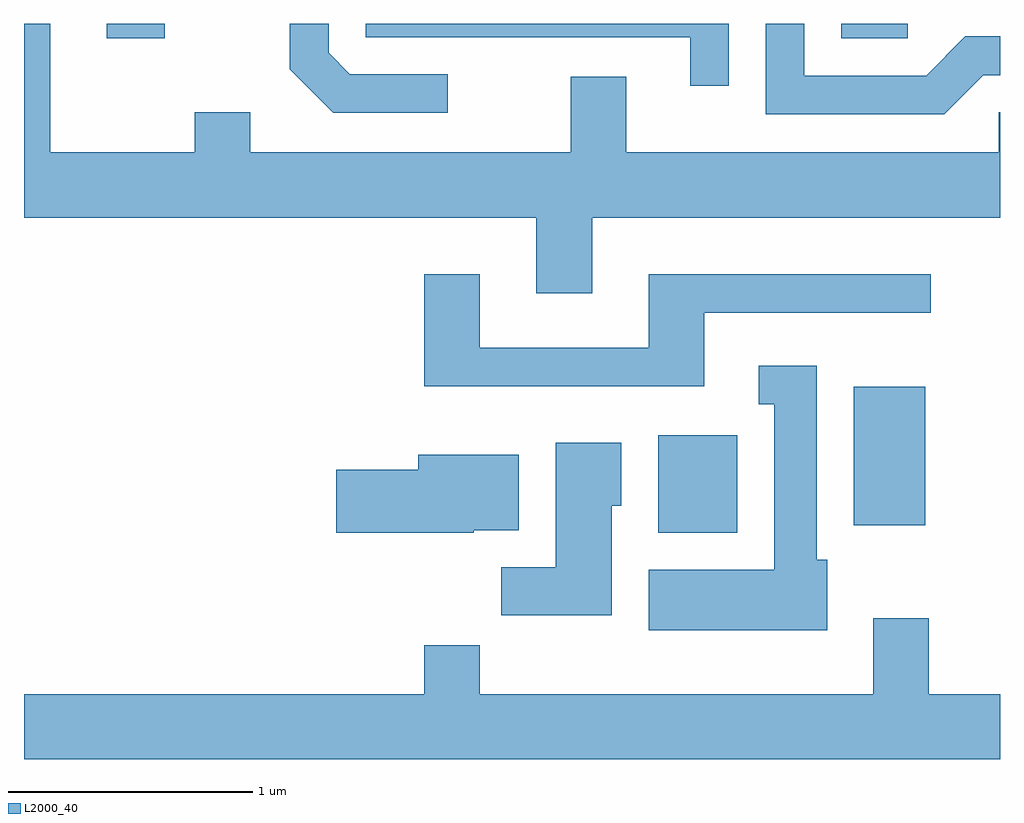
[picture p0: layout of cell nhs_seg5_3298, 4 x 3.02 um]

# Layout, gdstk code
import gdstk
lib = gdstk.Library(unit=1e-6, precision=1e-09)
def R(c, l, rs):  # rectangles x0, y0, x1, y1
    for r in rs: c.add(gdstk.rectangle(r[:2], r[2:], *l))
def P(c, l, *ps):  # polygons
    for p in ps: c.add(gdstk.Polygon(p, *l))
L2000_40 = (2000, 40)

nhs_seg5_3298 = lib.new_cell('nhs_seg5_3298')
R(nhs_seg5_3298, L2000_40, [(286.211,1419.986,286.534,1420.384), (287.011,1420.016,287.304,1420.584), (283.951,1422.011,284.188,1422.072), (286.961,1422.011,287.233,1422.072)])
P(nhs_seg5_3298, L2000_40, [(285.939,1421.276),(287.611,1421.276),(287.611,1421.709),(287.606,1421.709),(287.606,1421.544),(286.079,1421.544),(286.079,1421.854),(285.851,1421.854),(285.851,1421.544),(284.539,1421.544),(284.539,1421.709),(284.311,1421.709),(284.311,1421.544),(283.719,1421.544),(283.719,1422.072),(283.611,1422.072),(283.611,1421.276),(285.711,1421.276),(285.711,1420.966),(285.939,1420.966)],
  [(287.542,1421.861),(287.611,1421.861),(287.611,1422.019),(287.469,1422.019),(287.309,1421.859),(286.809,1421.859),(286.809,1422.072),(286.651,1422.072),(286.651,1421.701),(287.382,1421.701)],
  [(286.499,1422.072),(285.011,1422.072),(285.011,1422.016),(286.341,1422.016),(286.341,1421.818),(286.499,1421.818)],
  [(285.348,1421.864),(284.947,1421.864),(284.859,1421.952),(284.859,1422.072),(284.701,1422.072),(284.701,1421.884),(284.879,1421.706),(285.348,1421.706)],
  [(286.399,1420.886),(287.328,1420.886),(287.328,1421.044),(286.171,1421.044),(286.171,1420.744),(285.479,1420.744),(285.479,1421.044),(285.251,1421.044),(285.251,1420.586),(286.399,1420.586)],
  [(286.904,1419.874),(286.859,1419.874),(286.859,1420.669),(286.623,1420.669),(286.623,1420.511),(286.686,1420.511),(286.686,1419.834),(286.171,1419.834),(286.171,1419.586),(286.904,1419.586)],
  [(286.019,1420.096),(286.059,1420.096),(286.059,1420.354),(285.791,1420.354),(285.791,1419.844),(285.566,1419.844),(285.566,1419.646),(286.019,1419.646)],
  [(285.455,1419.996),(285.639,1419.996),(285.639,1420.304),(285.226,1420.304),(285.226,1420.244),(284.891,1420.244),(284.891,1419.986),(285.455,1419.986)],
  [(287.611,1419.324),(287.319,1419.324),(287.319,1419.634),(287.091,1419.634),(287.091,1419.324),(285.479,1419.324),(285.479,1419.524),(285.251,1419.524),(285.251,1419.324),(283.611,1419.324),(283.611,1419.056),(287.611,1419.056)])

lib.write_gds('nhs_seg5_3298.gds')
